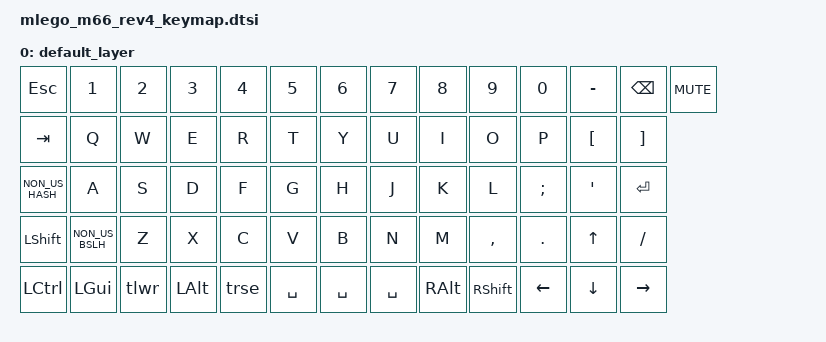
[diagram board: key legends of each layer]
#define HOST_OS 1
#include <behaviors.dtsi>
#include <dt-bindings/zmk/keys.h>
#include <dt-bindings/zmk/outputs.h>
#include <dt-bindings/zmk/bt.h>
#include <dt-bindings/zmk/ext_power.h>
#include "zmk-helpers/helper.h"

#define  QW 0
#define RSE 1
#define LWR 2
#define ADJ 3

/ {
    keymap {
        compatible = "zmk,keymap";

/*
┌────┬────┬────┬────┬────┬────┬────┬────┬────┬────┬────┬────┬────┬────┐
│ ⎋  │ 1  │ 2  │ 3  │ 4  │ 5  │ 6  │ 7  │ 8  │ 9  │ 0  │ -  │ ⌫  │ 🕨  │
├────┼────┼────┼────┼────┼────┼────┼────┼────┼────┼────┼────┼────┼────┘
│ ↹  │ q  │ w  │ e  │ r  │ t  │ y  │ u  │ i  │ o  │ p  │ [  │ ]  │
├────┼────┼────┼────┼────┼────┼────┼────┼────┼────┼────┼────┼────┤
│ #  │ a  │ s  │ d  │ f  │ g  │ h  │ j  │ k  │ l  │ ;  │ '  │ ⏎  │
├────┼────┼────┼────┼────┼────┼────┼────┼────┼────┼────┼────┼────┤
│ ⇧( │ \  │ z  │ x  │ c  │ v  │ b  │ n  │ m  │ ,  │ .  │ ↑  │ /  │
├────┼────┼────┼────┼────┼────┼────┼────┼────┼────┼────┼────┼────┤
│ ⎈  │   │ ⇓  │ ⎇  │ ⇑  │    │    │    │ ⎇  │ ⇧) │ ←  │ ↓  │ →  │
└────┴────┴────┴────┴────┴────┴────┴────┴────┴────┴────┴────┴────┘
*/
        default_layer {
            bindings = <
                &kp ESC          &kp N1          &kp N2 &kp N3   &kp N4 &kp N5    &kp N6    &kp N7    &kp N8   &kp N9    &kp N0   &kp MINUS &kp BSPC &kp K_MUTE
                &kp TAB          &kp Q           &kp W  &kp E    &kp R  &kp T     &kp Y     &kp U     &kp I    &kp O     &kp P    &kp LBKT  &kp RBKT
                &kp NON_US_HASH  &kp A           &kp S  &kp D    &kp F  &kp G     &kp H     &kp J     &kp K    &kp L     &kp SEMI &kp APOS  &kp RET
                &kp LSHFT        &kp NON_US_BSLH &kp Z  &kp X    &kp C  &kp V     &kp B     &kp N     &kp M    &kp COMMA &kp DOT  &kp UP    &kp FSLH   
                &kp LCTRL        &kp LGUI        &tlwr  &kp LALT &trse  &kp SPACE &kp SPACE &kp SPACE &kp RALT &kp RSHFT &kp LEFT &kp DOWN  &kp RIGHT 
            >;
        };
};
